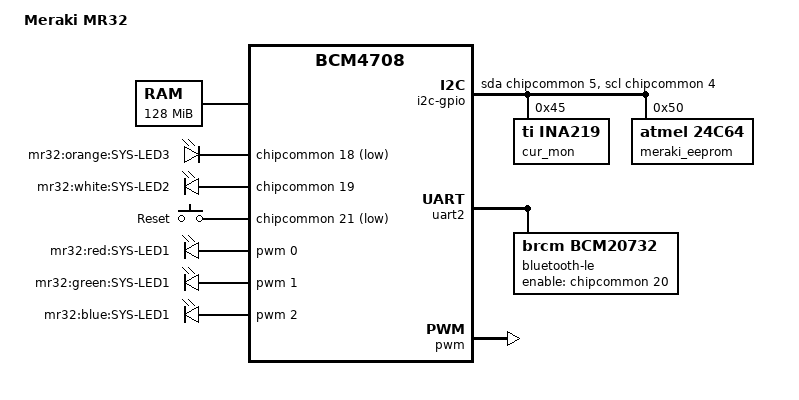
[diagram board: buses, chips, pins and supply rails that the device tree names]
/*
 * Broadcom BCM470X / BCM5301X ARM platform code.
 * DTS for Meraki MR32
 *
 * Copyright (C) 2018 Christian Lamparter <chunkeey@gmail.com>
 *
 * Permission to use, copy, modify, and/or distribute this software for any
 * purpose with or without fee is hereby granted, provided that the above
 * copyright notice and this permission notice appear in all copies.
 *
 * THE SOFTWARE IS PROVIDED "AS IS" AND THE AUTHOR DISCLAIMS ALL WARRANTIES WITH
 * REGARD TO THIS SOFTWARE INCLUDING ALL IMPLIED WARRANTIES OF MERCHANTABILITY
 * AND FITNESS. IN NO EVENT SHALL THE AUTHOR BE LIABLE FOR ANY SPECIAL, DIRECT,
 * INDIRECT, OR CONSEQUENTIAL DAMAGES OR ANY DAMAGES WHATSOEVER RESULTING FROM
 * LOSS OF USE, DATA OR PROFITS, WHETHER IN AN ACTION OF CONTRACT, NEGLIGENCE
 * OR OTHER TORTIOUS ACTION, ARISING OUT OF OR IN CONNECTION WITH THE USE OR
 * PERFORMANCE OF THIS SOFTWARE.
 */

/dts-v1/;

#include "bcm4708.dtsi"
#include "bcm5301x-nand-cs0-bch8.dtsi"

/ {
	compatible = "meraki,mr32", "brcm,bcm53016", "brcm,bcm4708";
	model = "Meraki MR32";

	chosen {
		bootargs = " console=ttyS0,115200n8 earlycon";
	};

	memory {
		reg = <0x00000000 0x08000000>;
	};

	aliases {
		led-power = &power;
		serial1 = &uart2;
	};

	leds {
		compatible = "gpio-leds";

		sysled3 {
			label = "mr32:orange:SYS-LED3";
			gpios = <&chipcommon 18 GPIO_ACTIVE_LOW>;
			panic-indicator;
		};
		sysled2 {
			label = "mr32:white:SYS-LED2";
			gpios = <&chipcommon 19 GPIO_ACTIVE_HIGH>;
		};
	};

	i2c-gpio {
		compatible = "i2c-gpio";

		/* 4.15+ */
		sda-gpios = <&chipcommon 5 GPIO_ACTIVE_HIGH>;
		scl-gpios = <&chipcommon 4 GPIO_ACTIVE_HIGH>;

		/* -4.14 */
		gpios = <&chipcommon 5 GPIO_ACTIVE_HIGH>,
			<&chipcommon 4 GPIO_ACTIVE_HIGH>;

		i2c-gpio,delay-us = <10>; /* close to 100 kHz @ 1 GHz */
		#address-cells = <1>;
		#size-cells = <0>;

		cur_mon: ina2xx@45 {
			compatible = "ti,ina219";
			reg = <0x45>;
			shunt-resistor = <60000>; /* = 60 mOhms */
		};

		meraki_eeprom: at24@50 {
			compatible = "atmel,24c64";
			reg = <0x50>;
			pagesize = <32>;
			read-only;
		};
	};

	gpio-keys {
		compatible = "gpio-keys";
		#address-cells = <1>;
		#size-cells = <0>;

		restart {
			label = "Reset";
			linux,code = <KEY_RESTART>;
			gpios = <&chipcommon 21 GPIO_ACTIVE_LOW>;
		};
	};

	pwm-leds {
		compatible = "pwm-leds";

		red {
			label = "mr32:red:SYS-LED1";
			pwms = <&pwm 0 50000 0>;
		};

		power: green {
			label = "mr32:green:SYS-LED1";
			pwms = <&pwm 1 50000 0>;
		};

		blue {
			label = "mr32:blue:SYS-LED1";
			pwms = <&pwm 2 50000 0>;
		};
	};
};

&uart0 {
	compatible = "ns16550a";
	/*
	 * Yes really. The UART0 uses 62.5 MHz as the base frequency.
	 * But there's doesn't seem to be a clk with this frequency ;(
	 */
	clock-frequency = <62500000>;
	/delete-property/ clocks;
};

&uart2 {
	status = "okay";

	bluetooth-le {
		compatible = "brcm,bcm20732";
		enable-gpio = <&chipcommon 20 GPIO_ACTIVE_HIGH>;
	};
};

&gmac1 {
	status = "disabled";
};
&gmac2 {
	status = "disabled";
};
&gmac3 {
	status = "disabled";
};

&pwm {
	status = "okay";
};

&nandcs {
	nand-ecc-algo = "hw";

	partitions {
		/*
		 * The partition autodetection does not work for this device.
		 * It will only detect the "nvram" partition with an incorrect size.
		 *	[    1.721667] 1 bcm47xxpart partitions found on MTD device brcmnand.0
		 *	[    1.727962] Creating 1 MTD partitions on "brcmnand.0":
		 *	[    1.733117] 0x000000400000-0x000008000000 : "nvram"
		 */

		compatible = "fixed-partitions";
		#address-cells = <0x1>;
		#size-cells = <0x1>;

		partition0@0 {
			label = "u-boot";
			reg = <0x0 0x100000>;
			read-only;
		};

		partition1@100000 {
			label = "bootkernel1";
			reg = <0x100000 0x300000>;
			read-only;
		};

		partition2@400000 {
			label = "nvram";
			reg = <0x400000 0x100000>;
			read-only;
		};

		partition3@500000 {
			label = "bootkernel2";
			reg = <0x500000 0x300000>;
			read-only;
		};

		partition4@800000 {
			label = "ubi";
			reg = <0x800000 0x7780000>;
		};
	};
};
